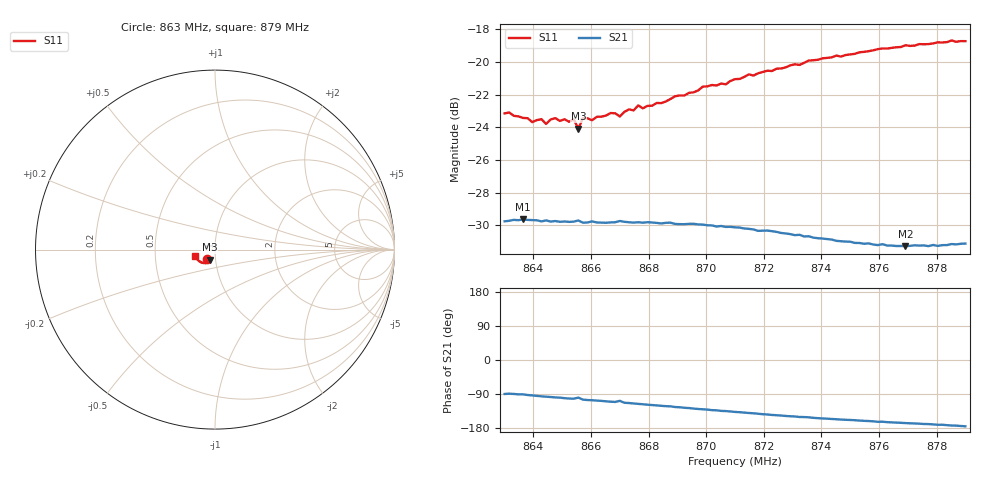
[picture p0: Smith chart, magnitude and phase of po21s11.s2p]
# HZ S RI R 50
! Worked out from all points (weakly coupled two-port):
!   101 points, 863 MHz to 879 MHz, reference 50 ohm
!   highest |S21| = -29.64 dB at 863.64 MHz (marker M1); lowest = -31.3 dB at 876.92 MHz (marker M2)
!   lowest |S11| = -24.1 dB at 865.56 MHz (marker M3), VSWR 1.13, Z = 46.9 - j5.19 ohm
!   |S11| at or under -10 dB: start of sweep to end of sweep
!   S12 and S22 are empty: the file has one direction only
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8.63e8  -0.0443 -0.0538  0.000221 -0.0325  0 0  0 0
8.6364e8  -0.0408 -0.0537  -0.000379 -0.033  0 0  0 0
8.6396e8  -0.0394 -0.0523  -0.00195 -0.0328  0 0  0 0
8.6428e8  -0.0388 -0.0545  -0.00334 -0.0324  0 0  0 0
8.6444e8  -0.037 -0.053  -0.00389 -0.0325  0 0  0 0
8.6476e8  -0.0383 -0.0554  -0.00494 -0.0322  0 0  0 0
8.654e8  -0.0358 -0.0564  -0.00686 -0.0317  0 0  0 0
8.6556e8  -0.0295 -0.0552  -0.00528 -0.0323  0 0  0 0
8.6572e8  -0.0354 -0.0572  -0.0081 -0.0312  0 0  0 0
8.6604e8  -0.0336 -0.0572  -0.00909 -0.0312  0 0  0 0
8.6668e8  -0.0349 -0.0605  -0.0111 -0.0303  0 0  0 0
8.67e8  -0.0313 -0.0605  -0.00994 -0.0311  0 0  0 0
8.6764e8  -0.0364 -0.0641  -0.0141 -0.0291  0 0  0 0
8.678e8  -0.0357 -0.0627  -0.0145 -0.0288  0 0  0 0
8.6844e8  -0.0363 -0.0655  -0.0164 -0.0275  0 0  0 0
8.6988e8  -0.0426 -0.0725  -0.0205 -0.0244  0 0  0 0
8.7068e8  -0.0454 -0.0725  -0.022 -0.0222  0 0  0 0
8.71e8  -0.0493 -0.0737  -0.0228 -0.0213  0 0  0 0
8.7372e8  -0.0698 -0.0735  -0.0258 -0.0133  0 0  0 0
8.7644e8  -0.0925 -0.0606  -0.0264 -0.00727  0 0  0 0
8.7692e8  -0.0969 -0.0574  -0.0266 -0.00639  0 0  0 0
8.79e8  -0.1097 -0.0375  -0.0277 -0.00238  0 0  0 0
